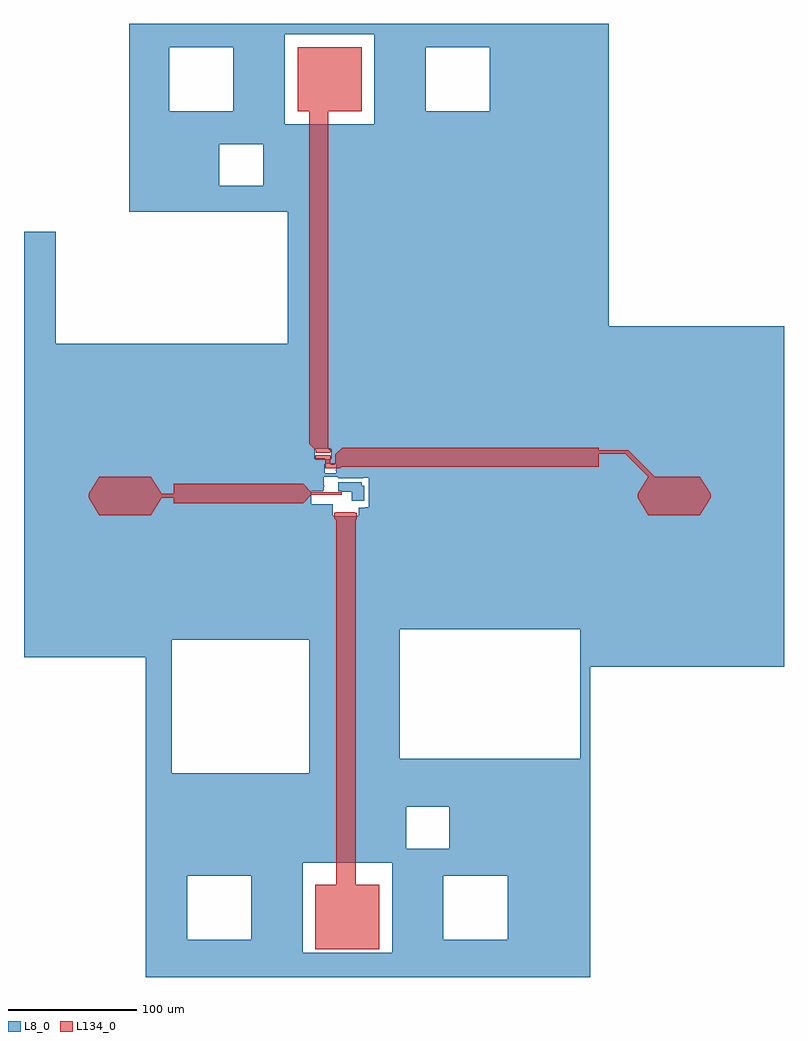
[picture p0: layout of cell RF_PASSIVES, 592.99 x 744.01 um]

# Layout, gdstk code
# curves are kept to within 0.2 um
import gdstk
lib = gdstk.Library(unit=1e-6, precision=1e-09)
def P(c, l, *ps):  # polygons
    for p in ps: c.add(gdstk.Polygon(p, *l))
L8_0 = (8, 0)
L134_0 = (134, 0)

rf_input = lib.new_cell('RF_INPUT')
P(rf_input, L134_0, [(8.5,0),(0,13.5),(0,16.5),(8.5,30),(48.5,30),(57,16.5),(66.635,16.5),(66.635,24.38),(167.4,24.38),(173.9,17.88),(197.46,17.88),(197.46,15.88),(173.9,15.88),(167.4,9.38),(66.635,9.38),(66.635,13.5),(57,13.5),(48.5,0)])

rf_output = lib.new_cell('RF_OUTPUT')
P(rf_output, L134_0, [(259.805,0),(251.305,13.5),(251.305,16.5),(259.805,30),(241.765,48.04),(220.94,48.04),(220.94,37.645),(20.695,37.645),(19.055,36.41),(8,36.41),(8,36.935),(7.66,36.935),(7.61,44.145),(0,44.145),(0,46.145),(0.13,46.505),(11.61,46.505),(11.61,39.58),(15.37,39.58),(15.37,47.32),(20.695,52.645),(220.94,52.645),(220.94,50.505),(244.15,50.505),(264.655,30),(299.805,30),(308.305,16.5),(308.305,13.5),(299.805,0)])

rf_supply1 = lib.new_cell('RF_SUPPLY1')
P(rf_supply1, L134_0, [(0,0),(0,50),(16.43,50),(16.43,334.545),(14.77,336.205),(14.77,340.265),(15.76,340.265),(15.76,340.7),(30.715,340.7),(30.715,340.265),(32.45,340.265),(32.45,335.565),(31.43,334.545),(31.43,50),(50,50),(50,0)])

rf_supply2 = lib.new_cell('RF_SUPPLY2')
P(rf_supply2, L134_0, [(15.685,0),(14.13,0.02),(14.01,1.675),(8.955,6.73),(8.955,266.26),(0,266.26),(0,316.26),(50,316.26),(50,266.26),(23.955,266.26),(23.955,2.485),(25.81,2.485),(25.81,0.485),(25.59,0.02)])

rf_ground = lib.new_cell('RF_GROUND')
P(rf_ground, L8_0, [(404.245,394.51),(404.245,401.265),(396.75,401.265),(396.75,401.585),(393.95,401.585),(394.01,408.615),(411.705,408.615),(412.02,408.3),(412.02,406.05),(414.34,405.98),(414.34,394.51)],
  [(243.72,22.555),(243.72,53.02),(264.28,52.84),(243.72,53.02),(243.72,83.2),(264.28,83.02),(243.72,83.2),(243.72,101.81),(275.975,101.81),(275.975,51.81),(325.975,51.81),(325.975,53.02),(354.82,52.84),(325.975,53.02),(325.975,83.2),(354.82,83.02),(325.975,83.2),(325.975,101.81),(243.72,101.81),(243.72,111.81),(365.975,111.81),(365.975,41.81),(435.975,41.81),(435.975,53.02),(475.54,52.84),(435.975,53.02),(435.975,83.2),(475.54,83.02),(435.975,83.2),(435.975,101.81),(475.975,101.81),(475.975,51.81),(525.975,51.81),(525.975,53.02),(566.08,52.84),(525.975,53.02),(525.975,83.2),(566.08,83.02),(525.975,83.2),(525.975,101.81),(435.975,101.81),(435.975,111.81),(243.72,111.81),(243.72,113.38),(566.08,113.2),(243.72,113.38),(243.72,143.56),(445.36,143.38),(243.72,143.56),(243.72,155.61),(447.025,155.61),(447.025,122.775),(480.305,122.775),(480.305,143.56),(566.08,143.56),(480.305,143.56),(480.305,155.61),(243.72,155.61),(243.72,173.74),(566.08,173.74),(243.72,173.74),(243.72,272.385),(148.665,272.385),(148.665,285.78),(264.1,285.78),(264.1,181.745),(371.31,181.745),(371.31,203.92),(415.18,203.74),(371.31,203.92),(371.31,234.1),(415.18,233.92),(371.31,234.1),(371.31,264.28),(415.18,264.28),(371.31,264.28),(371.31,285.78),(148.665,285.78),(148.665,294.46),(565.9,294.46),(441.835,294.28),(441.835,193.075),(582.845,193.075),(582.845,294.28),(566.08,294.46),(716.98,294.46),(148.665,294.46),(148.665,324.64),(716.98,324.64),(148.665,324.64),(148.665,354.82),(716.98,354.82),(148.665,354.82),(148.665,385),(385,384.82),(148.665,385),(148.665,412.98),(382.585,412.98),(382.785,405.335),(382.535,405.3),(382.535,402.375),(382.15,402.375),(382.15,401.585),(372.6,401.585),(372.6,398.555),(372.895,398.555),(372.895,391.68),(389.735,391.68),(389.735,382.64),(391.11,382.64),(391.11,382.33),(408.06,382.33),(408.06,382.64),(409.81,382.64),(409.81,385),(716.98,385),(409.81,385),(409.81,389.05),(417.805,389.135),(417.805,411.755),(394.01,411.915),(393.295,412.98),(148.665,412.98),(148.665,415.18),(716.98,415.18),(148.665,415.18),(148.665,423.415),(383.445,423.415),(383.4,415.985),(392.195,416.035),(392.195,417.905),(391.86,417.905),(391.86,418.645),(392.145,418.645),(392.145,423.415),(148.665,423.415),(148.665,435.065),(375.595,435.065),(375.625,426.81),(388.39,426.81),(388.355,435.065),(148.665,435.065),(148.665,445.36),(716.98,445.36),(148.665,445.36),(148.665,475.54),(716.98,475.54),(148.665,475.54),(148.665,505.72),(716.98,505.72),(148.665,505.72),(148.665,604.265),(173.56,604.265),(173.56,517.04),(354.64,517.04),(354.82,535.9),(596.26,535.72),(354.64,535.9),(354.82,566.08),(596.26,565.9),(354.64,566.08),(354.82,596.26),(596.26,596.26),(354.64,596.26),(354.64,619.725),(230.95,619.725),(230.95,626.44),(596.26,626.26),(230.95,626.44),(230.95,656.62),(294.46,656.44),(230.95,656.62),(230.95,672.4),(300.97,672.4),(300.97,640.185),(335.235,640.185),(335.235,656.62),(596.26,656.44),(335.235,656.62),(335.235,672.4),(230.95,672.4),(230.95,686.8),(596.26,686.62),(230.95,686.8),(230.95,716.98),(234.1,716.8),(230.95,716.98),(230.95,747.16),(234.1,746.98),(230.95,747.16),(230.95,748.19),(262.115,748.19),(262.115,698.19),(312.115,698.19),(312.115,716.98),(324.64,716.8),(312.115,716.98),(312.115,747.16),(324.64,747.16),(312.115,747.16),(312.115,748.19),(230.95,748.19),(230.95,758.19),(352.115,758.19),(352.115,688.19),(422.115,688.19),(422.115,716.98),(445.36,716.8),(422.115,716.98),(422.115,747.16),(445.36,746.98),(422.115,747.16),(422.115,748.19),(462.115,748.19),(462.115,698.19),(512.115,698.19),(512.115,716.98),(596.26,716.8),(512.115,716.98),(512.115,747.16),(596.26,747.16),(512.115,747.16),(512.115,748.19),(422.115,748.19),(422.115,758.19),(230.95,758.19),(230.95,766.57),(604.82,766.57),(604.82,530.44),(741.655,530.44),(741.655,264.685),(590.655,264.685),(590.655,22.555),(566.08,22.555),(566.08,22.84),(565.9,22.555),(535.9,22.555),(535.9,22.84),(535.72,22.555),(505.72,22.555),(505.72,22.84),(505.54,22.555),(475.54,22.555),(475.54,22.84),(475.36,22.555),(445.36,22.555),(445.36,22.84),(445.18,22.555),(415.18,22.555),(415.18,22.84),(415,22.555),(385,22.555),(385,22.84),(384.82,22.555),(354.82,22.555),(354.82,22.84),(354.64,22.555),(324.64,22.555),(324.64,22.84),(324.46,22.555),(294.46,22.555),(294.46,22.84),(294.28,22.555),(264.28,22.555),(264.28,22.84),(264.1,22.555)])

rf_passives = lib.new_cell('RF_PASSIVES')
rf_passives.add(gdstk.Reference(rf_input, (198.995,383.19)))
rf_passives.add(gdstk.Reference(rf_output, (376.095,383.185)))
rf_passives.add(gdstk.Reference(rf_supply1, (375.975,44.58)))
rf_passives.add(gdstk.Reference(rf_supply2, (362.115,431.93)))
rf_passives.add(gdstk.Reference(rf_ground, (0,0)))

lib.write_gds('RF_PASSIVES.gds')
